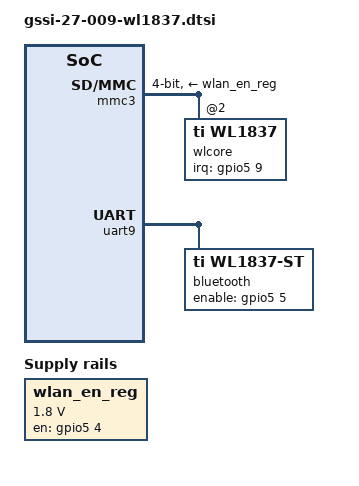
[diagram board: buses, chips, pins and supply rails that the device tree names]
/ {
	wlan_en_reg: fixedregulator@2 {
		compatible = "regulator-fixed";
		regulator-name = "wlan-en-regulator";
		regulator-min-microvolt = <1800000>;
		regulator-max-microvolt = <1800000>;
		startup-delay-us = <70000>;
		gpio = <&gpio5 4 GPIO_ACTIVE_HIGH>;
		enable-active-high;
	};
};

&dra7_pmx_core {
    wl18xx_pins_default: pinmux_wl18xx_pins_default {
        pinctrl-single,pins = <
            DRA7XX_CORE_IOPAD(0x36bc, PIN_OUTPUT_PULLDOWN | MUX_MODE14) /* G13 mcasp1_axr2 gpio5_4 */
            DRA7XX_CORE_IOPAD(0x36c4, PIN_OUTPUT_PULLDOWN | MUX_MODE14) /* E12 mcasp1_axr4 gpio5_6 */
            DRA7XX_CORE_IOPAD(0x36d0, PIN_INPUT_PULLDOWN  | MUX_MODE14) /* D12 mcasp1_axr7 gpio5_9 */
        >;
    };

    wl18xx_pins_sleep: pinmux_wl18xx_pins_sleep {
        pinctrl-single,pins = <
            DRA7XX_CORE_IOPAD(0x36bc, PIN_OUTPUT_PULLDOWN | MUX_MODE14) /* G13 mcasp1_axr2 gpio5_4 */
            DRA7XX_CORE_IOPAD(0x36c4, PIN_OUTPUT_PULLUP   | MUX_MODE14) /* E12 mcasp1_axr4 gpio5_6 */
            DRA7XX_CORE_IOPAD(0x36d0, PIN_INPUT_PULLDOWN  | MUX_MODE14) /* D12 mcasp1_axr7 gpio5_9 */
        >;
    };

    bt_pins: pinmux_bt_pins {
        pinctrl-single,pins = <
            DRA7XX_CORE_IOPAD(0x36c0, PIN_OUTPUT_PULLUP   | MUX_MODE14) /* J11 mcasp1_axr3 gpio5_5 */
        >;
    };

    uart9_pins: pinmux_uart9_pins {
        pinctrl-single,pins = <
            DRA7XX_CORE_IOPAD(0x3744, PIN_INPUT_PULLUP    | MUX_MODE3 ) /* AA3 mcasp5_aclkx uart9_rxd  */
            DRA7XX_CORE_IOPAD(0x3748, PIN_OUTPUT_PULLDOWN | MUX_MODE3 ) /* AB9 mcasp5_fsx   uart9_txd  */
            DRA7XX_CORE_IOPAD(0x374c, PIN_INPUT           | MUX_MODE3 ) /* AB3 mcasp5_axr0  uart9_ctsn */
            DRA7XX_CORE_IOPAD(0x3750, PIN_OUTPUT_PULLDOWN | MUX_MODE3 ) /* AA4 mcasp5_axr1  uart9_rtsn */
        >;
    };
};

&mmc3 {
	status = "okay";
    vmmc-supply = <&wlan_en_reg>;
    bus-width = <4>;
	pinctrl-names = "default", "hs", "sdr12", "sdr25", "sdr50";
    pinctrl-0 = <&mmc3_pins_default &wl18xx_pins_default>;
    pinctrl-1 = <&mmc3_pins_hs &wl18xx_pins_default>;
	pinctrl-2 = <&mmc3_pins_sdr12 &wl18xx_pins_default>;
	pinctrl-3 = <&mmc3_pins_sdr25 &wl18xx_pins_default>;
	pinctrl-4 = <&mmc3_pins_sdr50 &wl18xx_pins_default>;
    ti,non-removable;
    ti,needs-special-hs-handling;
    cap-power-off-card;
    keep-power-in-suspend;

    #address-cells = <1>;
    #size-cells = <0>;
    wlcore@0 {
        compatible = "ti,wl1837";
        reg = <2>;
        interrupt-parent = <&gpio5>;
        interrupts = <9 IRQ_TYPE_EDGE_RISING>;
    };
};

&uart9 {
    status = "okay";
    pinctrl-names = "default";
    pinctrl-0 = <&uart9_pins &bt_pins>;

    bluetooth {
        compatible = "ti,wl1837-st";
        enable-gpios = <&gpio5 5 GPIO_ACTIVE_HIGH>;
    };
};
